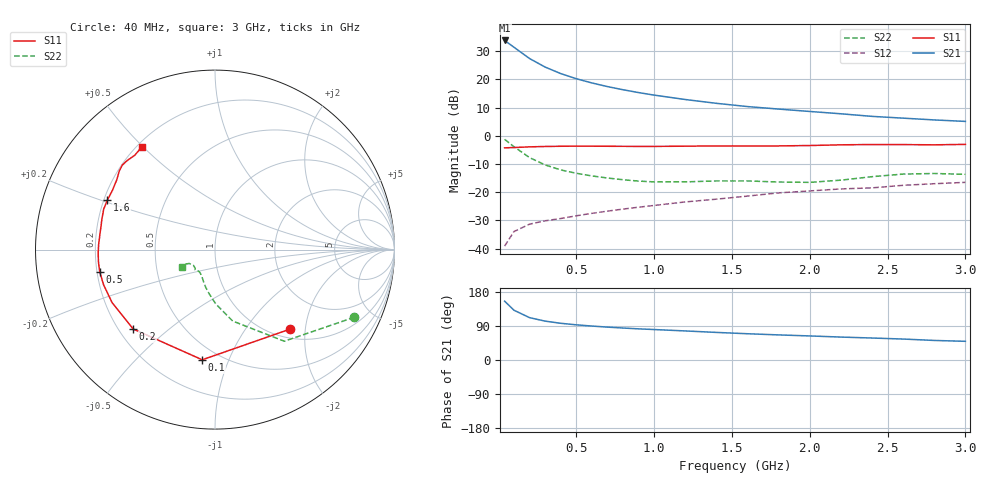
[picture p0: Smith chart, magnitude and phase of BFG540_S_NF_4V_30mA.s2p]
! Filename:  BFG540D.S2P  Version:  3.0
! Philips part #: BFG540  Date: Feb 1992
! Bias condition: Vce=4V, Ic=30mA
! IN LINE PINNING: same data as with cross emitter pinning.
#  MHz  S  MA  R  50
! Freq  S11  S21  S12  S22  !GUM [dB]
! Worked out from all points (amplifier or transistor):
!   21 points, 40 MHz to 3 GHz, reference 50 ohm
!   highest |S21| = 33.8 dB at 40 MHz (marker M1)
!   |S21| within 3 dB of that: start of sweep to 114.9 MHz
!   unconditionally stable (mu >= 1): 791.3 MHz to end of sweep
!   at 300 MHz: K = 0.60, MSG = 27.3 dB, |S12| = -30.2 dB
!   at 1 GHz: K = 1.09, MAG = 17.7 dB, |S12| = -24.7 dB
!   at 3 GHz: K = 1.15, MAG = 8.5 dB, |S12| = -16.5 dB
!   lowest NFmin = 1.70 dB at 900 MHz
!   S11 on the Smith chart (normalised r, x): 40 MHz: 1.18, -1.66; 100 MHz: 0.41, -0.81; 200 MHz: 0.26, -0.38; 500 MHz: 0.21, -0.09; 1.6 GHz: 0.21, +0.21; 3 GHz: 0.22, +0.50
40  0.61 -46.5  49 155.3  0.011 69.0  0.863 -25.9
100  0.618 -96.6  37.16 131.4  0.02 53.2  0.64 -52.9
200  0.635 -135.8  23.44 111.8  0.027 45.2  0.41 -76.1
300  0.645 -152.8  16.53 102.6  0.031 44.8  0.304 -89.0
400  0.651 -162.5  12.68 96.9  0.034 47.7  0.248 -97.6
500  0.654 -169.1  10.28 92.8  0.038 50.2  0.216 -103.9
600  0.653 -174.2  8.647 89.6  0.042 53.4  0.194 -108.7
700  0.651 -178.5  7.455 86.8  0.046 55.3  0.178 -112.6
800  0.649 177.7  6.554 84.4  0.05 57.2  0.166 -116.4
900  0.647 174.1  5.835 82.2  0.054 59.3  0.157 -120.6
1000  0.647 170.6  5.261 80.4  0.058 60.7  0.152 -124.5
1200  0.653 164.6  4.395 76.7  0.067 62.8  0.152 -131.2
1400  0.66 159.9  3.76 72.8  0.075 63.6  0.158 -133.9
1600  0.66 155.3  3.293 69.3  0.085 65.3  0.158 -134.7
1800  0.66 150.1  2.973 66.2  0.097 65.2  0.151 -137.1
2000  0.671 144.7  2.697 63.5  0.105 65.9  0.149 -144.2
2200  0.69 140.6  2.452 60.5  0.114 65.8  0.163 -151.7
2400  0.699 137.7  2.207 58.0  0.119 66.5  0.188 -154.4
2600  0.697 134.6  2.052 55.3  0.132 65.5  0.209 -152.5
2800  0.69 130.4  1.908 51.6  0.141 63.3  0.214 -150.0
3000  0.703 125.3  1.796 49.3  0.149 63.9  0.207 -151.7
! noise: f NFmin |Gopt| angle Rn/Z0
900  1.7  0.312  171  0.11
2000  2.4  0.543  -155  0.12
